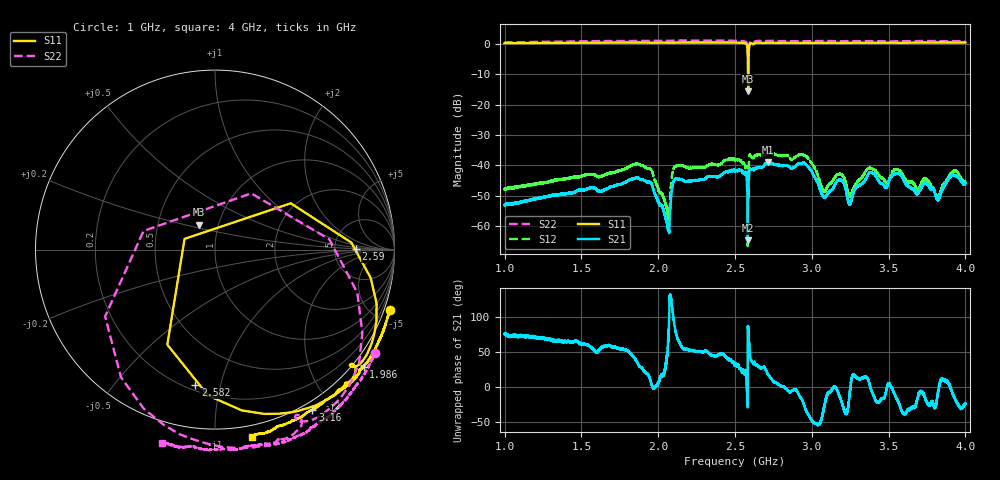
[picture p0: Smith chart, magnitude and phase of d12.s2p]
!Agilent Technologies,N5230C,SG49000117,A.08.50.07
!Agilent N5230C: A.08.50.07
!Date: Monday, May 20, 2024 19:51:53
!Correction: S11(Full 2 Port(1,2))
!S21(Full 2 Port(1,2))
!S12(Full 2 Port(1,2))
!S22(Full 2 Port(1,2))
!S2P File: Measurements: S11, S21, S12, S22:
# Hz S  MA  R 50
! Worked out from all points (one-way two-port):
!   20001 points, 1 GHz to 4 GHz, reference 50 ohm
!   highest |S21| = -39.05 dB at 2.712 GHz (marker M1); lowest = -64.6 dB at 2.583 GHz (marker M2)
!   lowest |S11| = -15.6 dB at 2.586 GHz (marker M3), VSWR 1.40, Z = 40.2 + j11.4 ohm
!   |S11| at or under -10 dB: 2.584691 GHz to 2.58649 GHz (1.799 MHz wide, 0.0696 % of centre)
!   |S22| runs from -10.0 to 1.2 dB; largest |S21 - S12| = 0.0091
!   S11 on the Smith chart (normalised r, x): 1 GHz: -0.54, -5.89; 1.986 GHz: -0.24, -2.87; 2.582 GHz: 0.23, -0.84; 2.59 GHz: 8.32, +0.20; 3.16 GHz: -0.09, -1.77; 4 GHz: -0.07, -1.21
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1e9  1.031 -19.1  0.002224 75.8  0.003982 63.0  1.064 -32.9
1.5001e9  1.047 -30.3  0.003934 62.9  0.006508 42.4  1.104 -48.0
1.8625e9  1.055 -36.4  0.006224 35.8  0.01064 12.7  1.124 -57.3
1.9855e9  1.054 -38.2  0.003092 1.8  0.005035 -25.6  1.127 -60.3
2.00005e9  1.05 -38.2  0.002542 5.3  0.00416 -20.9  1.125 -60.0
2.06125e9  1.05 -39.5  0.0009851 49.9  0.00163 23.2  1.125 -61.5
2.1127e9  1.05 -39.8  0.006015 80.3  0.009701 55.4  1.135 -62.4
2.5e9  1.052 -48.3  0.008113 33.4  0.01227 0.5  1.132 -74.8
2.5636e9  1.033 -57.1  0.007229 20.7  0.00971 -15.3  1.102 -86.8
2.58205e9  0.7638 -98.2  0.004274 -16.4  0.003584 -42.4  0.8443 -131.7
2.58325e9  0.6164 -114.0  0.0005856 23.2  0.0004671 -4.2  0.735 -146.3
2.58565e9  0.1658 123.6  0.003278 48.7  0.003048 52.8  0.3717 152.8
2.58955e9  0.7856 0.3  0.006747 53.3  0.01104 52.2  0.6765 0.6
2.6032e9  1.029 -35.1  0.0086 38.6  0.01404 14.0  1.096 -56.9
2.71165e9  1.046 -46.6  0.01116 19.4  0.01562 -10.8  1.123 -72.4
3.0001e9  1.042 -54.2  0.007824 -48.0  0.01074 -80.3  1.114 -81.8
3.0781e9  1.045 -56.2  0.002986 -30.4  0.003768 -63.4  1.121 -83.9
3.1597e9  1.044 -58.7  0.005294 -2.0  0.006863 -38.8  1.116 -86.6
3.2473e9  1.044 -61.2  0.002296 -6.7  0.003071 -46.0  1.112 -89.5
3.37165e9  1.047 -64.4  0.007444 7.8  0.008958 -31.6  1.115 -92.4
3.50005e9  1.048 -67.7  0.005241 5.6  0.005621 -32.5  1.104 -95.8
4e9  1.062 -78.8  0.005095 -23.5  0.005482 -58.5  1.119 -105.4
